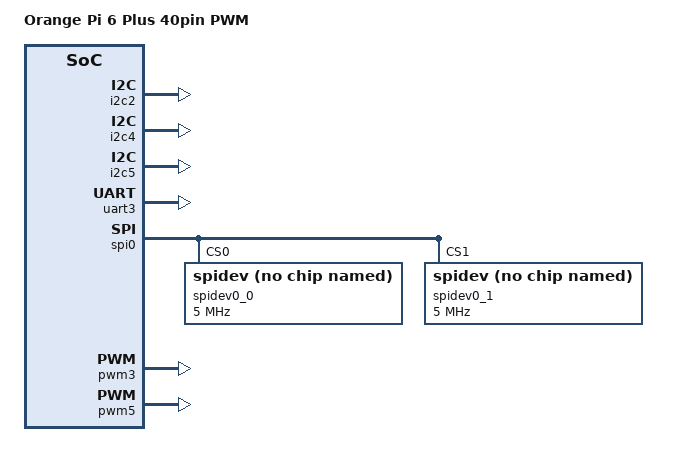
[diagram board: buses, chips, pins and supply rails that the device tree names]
/*
 * Copyright 2024 Cix Technology Group Co., Ltd.
 *
 * SPDX-License-Identifier: BSD-3-Clause
 */

/dts-v1/;

#include "sky1-orangepi-6-plus.dts"

/ {
	model = "Orange Pi 6 Plus 40pin PWM";
};

&iomuxc_s5 {
	pinctrl_hog_s5: pinctrl_hog_s5 {
		sky1,pins = <
			CIX_PAD_GPIO014_FUNC_GPIO014   (PULL_UP|DS_LEVEL4) /* GPIO14 hp det */
			CIX_PAD_GPIO040_FUNC_GPIO040   (PULL_UP|DS_LEVEL4) /* GPIO40 */
		>;
	};
};

&iomuxc {
	pinctrl_hog: pinctrl_hog {
		sky1,pins = <
			CIX_PAD_GPIO144_FUNC_GPIO144 (PULL_DOWN|DS_LEVEL4) /* GPIO144 pdb0 */
			CIX_PAD_GPIO145_FUNC_GPIO145 (PULL_DOWN|DS_LEVEL4) /* GPIO145 pdb1 */
			CIX_PAD_GPIO146_FUNC_GPIO146 (PULL_DOWN|DS_LEVEL4) /* GPIO146 pdb2 */
			CIX_PAD_GPIO147_FUNC_GPIO147 (PULL_DOWN|DS_LEVEL4) /* GPIO147 pdb3 */
		>;
	};
};

//40pin
&i2c2 {
	status = "okay";
	pinctrl-names = "default";
	pinctrl-0 = <&pinctrl_fch_i2c2>;
};

//40pin
&i2c4 {
	status = "okay";
	pinctrl-names = "default";
	pinctrl-0 = <&pinctrl_fch_i2c4>;
};

//40pin
&i2c5 {
	status = "okay";
	pinctrl-names = "default";
	pinctrl-0 = <&pinctrl_fch_i2c5>;
};

//40pin
&uart1{
	status = "disabled";
	pinctrl-names = "default";
	pinctrl-0 = <&pinctrl_fch_uart1>;
	dmas = <&fch_dmac 2 4>, <&fch_dmac 3 5>;
	dma-names = "tx","rx";
};

//40pin
&uart3{
	status = "okay";
	pinctrl-names = "default";
	pinctrl-0 = <&pinctrl_fch_uart3>;
	dmas = <&fch_dmac 6 6>, <&fch_dmac 7 7>;
	dma-names = "tx","rx";
};

//40pin
&spi0{
	status = "okay";
	pinctrl-names = "default";
	pinctrl-0 = <&pinctrl_fch_spi0>;
	/* Character device nodes for device communication on CS0(/dev/spidev0.0) */
	spidev0_0:spi@0_0{
		compatible = "rohm,dh2228fv";
		reg = <0>;
		spi-max-frequency = <5000000>;
	};
	/* Character device nodes for device communication on CS1(/dev/spidev0.1) */
	spidev0_1:spi@0_1{
		compatible = "rohm,dh2228fv";
		reg = <1>;
		spi-max-frequency = <5000000>;
	};
};

//40pin pwm3@04113000
&pwm3 {
	pinctrl-names = "default";
	pinctrl-0 = <&pinctrl_fch_pwm3>;
	status = "okay";
};

//40pin pwm5@04115000
&pwm5 {
	pinctrl-names = "default";
	pinctrl-0 = <&pinctrl_fch_pwm5>;
	status = "okay";
};
